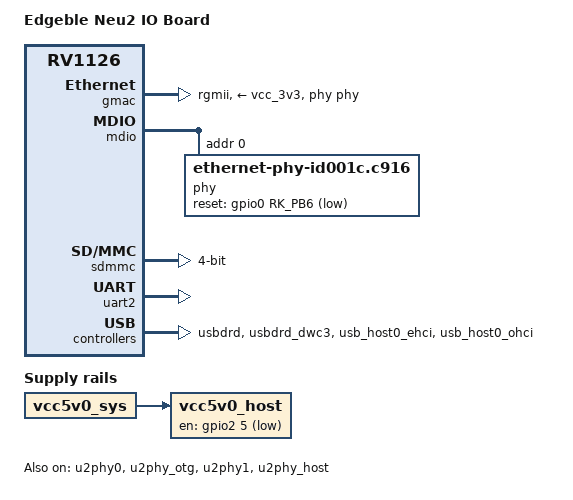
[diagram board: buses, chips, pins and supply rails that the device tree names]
// SPDX-License-Identifier: (GPL-2.0+ OR MIT)
/*
 * Copyright (c) 2020 Rockchip Electronics Co., Ltd.
 * Copyright (c) 2022 Edgeble AI Technologies Pvt. Ltd.
 */

/dts-v1/;
#include "rv1126.dtsi"
#include "rv1126-edgeble-neu2.dtsi"

/ {
	model = "Edgeble Neu2 IO Board";
	compatible = "edgeble,neural-compute-module-2-io",
		     "edgeble,neural-compute-module-2", "rockchip,rv1126";

	aliases {
		serial2 = &uart2;
	};

	chosen {
		stdout-path = "serial2:1500000n8";
	};

	vcc5v0_host: vcc5v0-host-regulator {
		compatible = "regulator-fixed";
		enable-active-low;
		gpio = <&gpio2 5 GPIO_ACTIVE_LOW>;
		pinctrl-names = "default";
		pinctrl-0 = <&host_vbus_drv>;
		regulator-name = "vcc5v0_host";
		regulator-always-on;
		regulator-boot-on;
		vin-supply = <&vcc5v0_sys>;
	};
};

&pinctrl {
	usb {
		host_vbus_drv: host-vbus-drv {
			rockchip,pins = <2 RK_PA5 RK_FUNC_GPIO &pcfg_pull_none>;
		};
	};
};

&gmac {
	assigned-clocks = <&cru CLK_GMAC_SRC>, <&cru CLK_GMAC_TX_RX>,
			  <&cru CLK_GMAC_ETHERNET_OUT>;
	assigned-clock-parents = <&cru CLK_GMAC_SRC_M1>, <&cru RGMII_MODE_CLK>;
	assigned-clock-rates = <125000000>, <0>, <25000000>;
	clock_in_out = "input";
	phy-handle = <&phy>;
	phy-mode = "rgmii";
	phy-supply = <&vcc_3v3>;
	pinctrl-names = "default";
	pinctrl-0 = <&rgmiim1_pins &clk_out_ethernetm1_pins>;
	tx_delay = <0x2a>;
	rx_delay = <0x1a>;
	status = "okay";
};

&mdio {
	phy: ethernet-phy@0 {
		compatible = "ethernet-phy-id001c.c916",
			     "ethernet-phy-ieee802.3-c22";
		reg = <0x0>;
		pinctrl-names = "default";
		pinctrl-0 = <&eth_phy_rst>;
		reset-assert-us = <20000>;
		reset-deassert-us = <100000>;
		reset-gpios = <&gpio0 RK_PB6 GPIO_ACTIVE_LOW>;
	};
};

&pinctrl {
	ethernet {
		eth_phy_rst: eth-phy-rst {
			rockchip,pins = <0 RK_PB6 RK_FUNC_GPIO &pcfg_pull_down>;
		};
	};
};

&sdmmc {
	bus-width = <4>;
	cap-mmc-highspeed;
	cap-sd-highspeed;
	card-detect-delay = <200>;
	pinctrl-names = "default";
	pinctrl-0 = <&sdmmc0_clk &sdmmc0_cmd &sdmmc0_bus4 &sdmmc0_det>;
	rockchip,default-sample-phase = <90>;
	sd-uhs-sdr12;
	sd-uhs-sdr25;
	sd-uhs-sdr104;
	vqmmc-supply = <&vccio_sd>;
	status = "okay";
};

&uart2 {
	status = "okay";
};

&u2phy0 {
	status = "okay";
	phy-supply = <&vcc5v0_host>;
};

&u2phy_otg {
	status = "okay";
};

&u2phy1 {
	status = "okay";
};

&u2phy_host {
	status = "okay";
};

&usbdrd {
	status = "okay";
};

&usbdrd_dwc3 {
	status = "okay";
};

&usb_host0_ehci {
	status = "okay";
};

&usb_host0_ohci {
	status = "okay";
};
